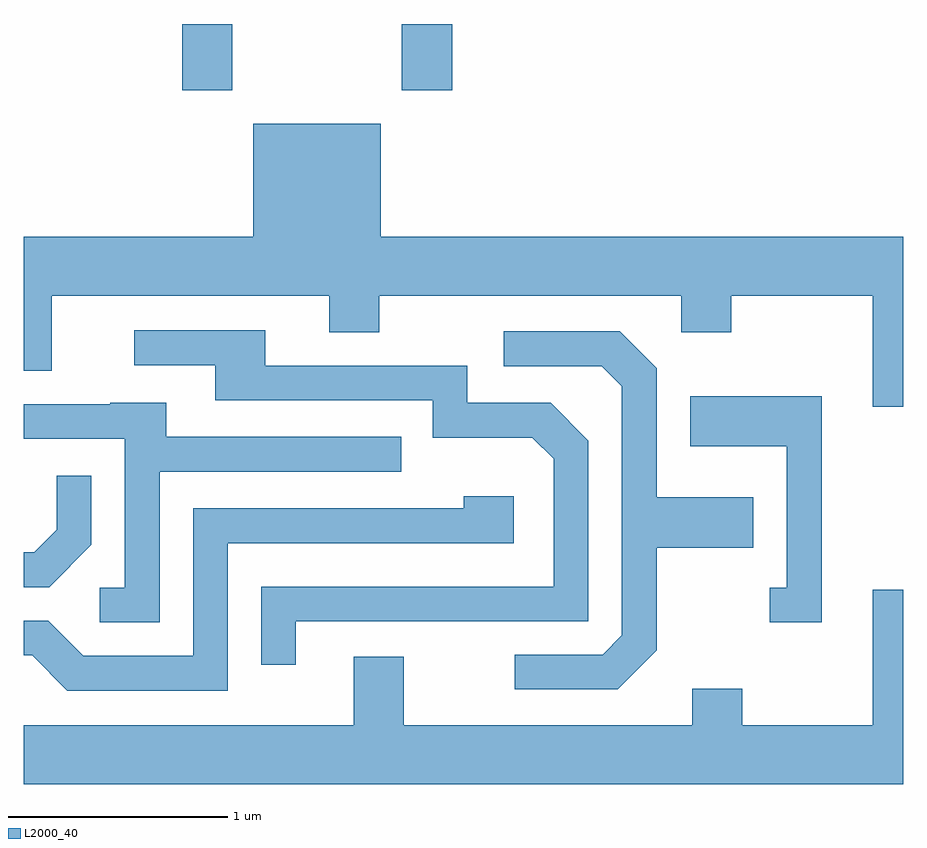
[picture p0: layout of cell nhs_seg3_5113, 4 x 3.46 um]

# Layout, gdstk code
import gdstk
lib = gdstk.Library(unit=1e-6, precision=1e-09)
def R(c, l, rs):  # rectangles x0, y0, x1, y1
    for r in rs: c.add(gdstk.rectangle(r[:2], r[2:], *l))
def P(c, l, *ps):  # polygons
    for p in ps: c.add(gdstk.Polygon(p, *l))
L2000_40 = (2000, 40)

nhs_seg3_5113 = lib.new_cell('nhs_seg3_5113')
R(nhs_seg3_5113, L2000_40, [(336.331,1153.591,336.559,1153.892), (337.331,1153.591,337.559,1153.892)])
P(nhs_seg3_5113, L2000_40, [(339.611,1152.924),(337.234,1152.924),(337.234,1153.439),(336.656,1153.439),(336.656,1152.924),(335.611,1152.924),(335.611,1152.316),(335.739,1152.316),(335.739,1152.656),(337.001,1152.656),(337.001,1152.491),(337.229,1152.491),(337.229,1152.656),(338.601,1152.656),(338.601,1152.491),(338.829,1152.491),(338.829,1152.656),(339.471,1152.656),(339.471,1152.151),(339.611,1152.151)],
  [(336.849,1151.176),(338.179,1151.176),(338.179,1151.997),(338.007,1152.169),(337.629,1152.169),(337.629,1152.339),(336.709,1152.339),(336.709,1152.499),(336.113,1152.499),(336.113,1152.341),(336.481,1152.341),(336.481,1152.181),(337.471,1152.181),(337.471,1152.011),(337.924,1152.011),(338.021,1151.914),(338.021,1151.334),(336.691,1151.334),(336.691,1150.978),(336.849,1150.978)],
  [(338.489,1151.044),(338.489,1151.511),(338.929,1151.511),(338.929,1151.739),(338.489,1151.739),(338.489,1152.327),(338.322,1152.494),(337.793,1152.494),(337.793,1152.336),(338.239,1152.336),(338.331,1152.244),(338.331,1151.112),(338.244,1151.024),(337.843,1151.024),(337.843,1150.866),(338.312,1150.866)],
  [(339.239,1152.199),(338.641,1152.199),(338.641,1151.971),(339.081,1151.971),(339.081,1151.329),(339.003,1151.329),(339.003,1151.171),(339.239,1151.171)],
  [(336.229,1151.856),(337.328,1151.856),(337.328,1152.014),(336.259,1152.014),(336.259,1152.169),(336.005,1152.169),(336.005,1152.164),(335.611,1152.164),(335.611,1152.006),(336.071,1152.006),(336.071,1151.329),(335.958,1151.329),(335.958,1151.171),(336.229,1151.171)],
  [(335.919,1151.524),(335.919,1151.838),(335.761,1151.838),(335.761,1151.592),(335.659,1151.489),(335.611,1151.489),(335.611,1151.331),(335.727,1151.331)],
  [(336.539,1151.531),(337.839,1151.531),(337.839,1151.744),(337.611,1151.744),(337.611,1151.689),(336.381,1151.689),(336.381,1151.019),(335.882,1151.019),(335.722,1151.179),(335.611,1151.179),(335.611,1151.021),(335.649,1151.021),(335.809,1150.861),(336.539,1150.861)],
  [(339.611,1151.319),(339.471,1151.319),(339.471,1150.704),(338.879,1150.704),(338.879,1150.869),(338.651,1150.869),(338.651,1150.704),(337.339,1150.704),(337.339,1151.014),(337.111,1151.014),(337.111,1150.704),(335.611,1150.704),(335.611,1150.436),(339.611,1150.436)])

lib.write_gds('nhs_seg3_5113.gds')
